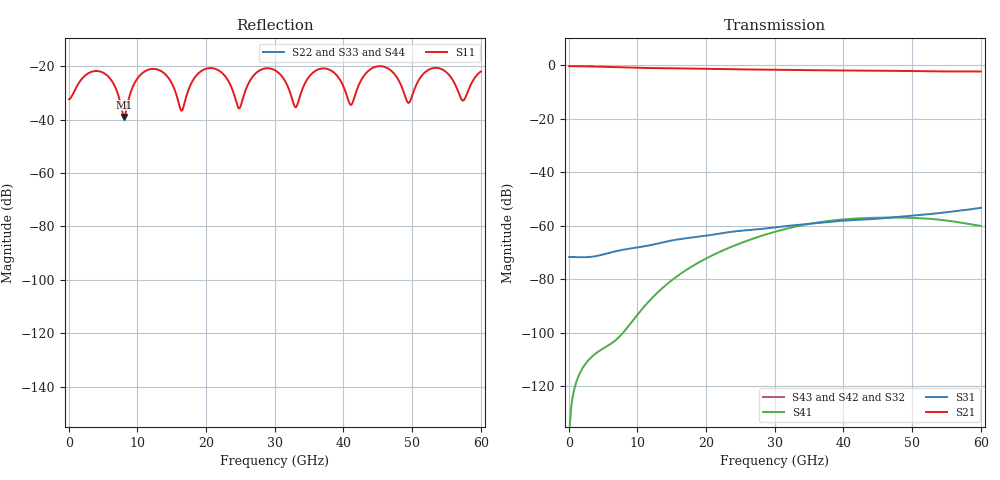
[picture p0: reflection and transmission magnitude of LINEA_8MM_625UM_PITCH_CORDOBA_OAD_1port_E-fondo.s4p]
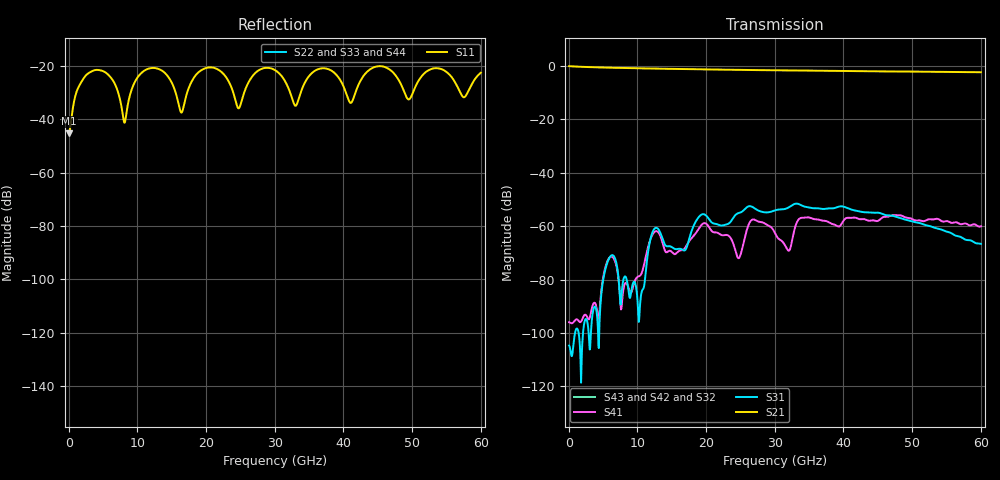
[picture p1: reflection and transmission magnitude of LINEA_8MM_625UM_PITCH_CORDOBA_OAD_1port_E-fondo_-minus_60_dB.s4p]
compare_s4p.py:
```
"""S-parameters, -27 dB run vs the run stopped at -44.5 dB: |S| in dB at the monitor frequencies and the change.
Ports (CST): 1 A near, 2 A far, 3 B near, 4 B far -> S21 through, S31 NEXT, S41 FEXT."""
import os, numpy as np, skrf as rf
HERE = os.path.dirname(os.path.abspath(__file__))
old = rf.Network(os.path.join(HERE, "../cordoba_8mm_wide_ebottom/LINEA_8MM_625UM_PITCH_CORDOBA_OAD_1port_E-fondo.s4p"))
new = rf.Network(os.path.join(HERE, "LINEA_8MM_625UM_PITCH_CORDOBA_OAD_1port_E-fondo_-minus_60_dB.s4p"))
fs = np.arange(5, 61, 5) * 1e9
def at(n, i, j):
    return np.interp(fs, n.f, n.s[:, i, j].real) + 1j * np.interp(fs, n.f, n.s[:, i, j].imag)
for lab, (i, j) in {"S11": (0, 0), "S21": (1, 0), "S31 NEXT": (2, 0), "S41 FEXT": (3, 0)}.items():
    a, b = at(old, i, j), at(new, i, j)
    print(f"{lab:9s} old " + " ".join(f"{20*np.log10(abs(v)):6.1f}" for v in a))
    print(f"{'':9s} new " + " ".join(f"{20*np.log10(abs(v)):6.1f}" for v in b))
    print(f"{'':9s} |new-old|/|new| " + " ".join(f"{abs(b[k]-a[k])/abs(b[k]):.2f}" for k in range(len(fs))))
```
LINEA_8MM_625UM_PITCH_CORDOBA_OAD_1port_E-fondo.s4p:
! TOUCHSTONE file generated by CST MICROWAVE STUDIO
! Date and time: Mon Nov  2 09:16:39 2026
! Project name: LINEA_8MM_625UM_PITCH_CORDOBA_OAD_1port_E-fondo.cst
! Parameters = {CHANNEL_PITCH=0.625; GAP=0.00415; L=8; L1=0.02; L2=0.086; L3=0.066; NCELL=1; PITCH=0.18; START_POSITION=0.13; W1=0.003; W2=0.004; W3=0.009; WG=0.04985; gap_oxr=0.00125; linbo3_thickness=0.0002; mtx=0.002; oxiDinE=0.0014; w=0.185; ws=0.035}
! Header version: 2024
! Port assignment regex: !\s*Touchstone port\s*([0-9]+)\s*=\s*(CST MWS port|CST DES external port|CST DES block port)\s*(.+)\s* \(\"(.*)\"\)(\s*mode\s*([0-9]+))?.*
! Touchstone port assignment:
! Touchstone port 1 = CST MWS port 1 ("")
! Touchstone port 2 = CST MWS port 2 ("")
! Touchstone port 3 = CST MWS port 3 ("")
! Touchstone port 4 = CST MWS port 4 ("")
# GHz S MA R 50
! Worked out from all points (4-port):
!   1000 points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, 60 MHz to 60 GHz, reference 50 ohm
!   strongest paths, dB at 60 MHz, 15.06 GHz, 30.06 GHz, 45.06 GHz, 60 GHz:
!     S21: -0.3, -1.1, -1.6, -1.9, -2.2
!     S31: -71.7, -65.5, -60.6, -57.4, -53.3
!     S41: -141.2, -80.3, -62.2, -57.0, -60.1
!     S43: -, -, -, -, -
!     S42: -, -, -, -, -
!     S32: -, -, -, -, -
!   lowest |S11| = -39.0 dB at 8.04 GHz (marker M1), VSWR 1.02, Z = 48.9 - j0.281 ohm
!   |S11| at or under -10 dB: start of sweep to end of sweep
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0.06  0.02398 -5.6  0 0.0  0 0.0  0 0.0
      0.9712 -1.3  0 0.0  0 0.0  0 0.0
      0.0002594 -2.9  0 0.0  0 0.0  0 0.0
      8.689e-08 -133.0  0 0.0  0 0.0  0 0.0
8.04  0.01123 -165.2  0 0.0  0 0.0  0 0.0
      0.9186 -176.2  0 0.0  0 0.0  0 0.0
      0.0003574 -31.1  0 0.0  0 0.0  0 0.0
      1.037e-05 -164.1  0 0.0  0 0.0  0 0.0
60  0.07954 -126.3  0 0.0  0 0.0  0 0.0
    0.7724 151.6  0 0.0  0 0.0  0 0.0
    0.002161 143.7  0 0.0  0 0.0  0 0.0
    0.0009905 71.0  0 0.0  0 0.0  0 0.0
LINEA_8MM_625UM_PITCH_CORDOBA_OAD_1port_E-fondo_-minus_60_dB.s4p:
! TOUCHSTONE file generated by CST MICROWAVE STUDIO
! Date and time: Wed Nov  4 14:42:19 2026
! Project name: LINEA_8MM_625UM_PITCH_CORDOBA_OAD_1port_E-fondo -minus 60 dB.cst
! Parameters = {CHANNEL_PITCH=0.625; GAP=0.00415; L=8; L1=0.02; L2=0.086; L3=0.066; NCELL=1; PITCH=0.18; START_POSITION=0.13; W1=0.003; W2=0.004; W3=0.009; WG=0.04985; gap_oxr=0.00125; linbo3_thickness=0.0002; mtx=0.002; oxiDinE=0.0014; w=0.185; ws=0.035}
! Header version: 2024
! Port assignment regex: !\s*Touchstone port\s*([0-9]+)\s*=\s*(CST MWS port|CST DES external port|CST DES block port)\s*(.+)\s* \(\"(.*)\"\)(\s*mode\s*([0-9]+))?.*
! Touchstone port assignment:
! Touchstone port 1 = CST MWS port 1 ("")
! Touchstone port 2 = CST MWS port 2 ("")
! Touchstone port 3 = CST MWS port 3 ("")
! Touchstone port 4 = CST MWS port 4 ("")
# GHz S MA R 50
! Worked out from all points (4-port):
!   1000 points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, 60 MHz to 60 GHz, reference 50 ohm
!   strongest paths, dB at 60 MHz, 15.06 GHz, 30.06 GHz, 45.06 GHz, 60 GHz:
!     S21: 0.0, -1.1, -1.6, -2.0, -2.3
!     S31: -104.7, -67.9, -54.0, -54.9, -66.6
!     S41: -95.9, -69.8, -62.7, -57.9, -60.0
!     S43: -, -, -, -, -
!     S42: -, -, -, -, -
!     S32: -, -, -, -, -
!   lowest |S11| = -45.3 dB at 60 MHz (marker M1), VSWR 1.01, Z = 50.5 - j0.0154 ohm
!   |S11| at or under -10 dB: start of sweep to end of sweep
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0.06  0.005462 -1.6  0 0.0  0 0.0  0 0.0
      0.9944 -1.4  0 0.0  0 0.0  0 0.0
      5.849e-06 -12.8  0 0.0  0 0.0  0 0.0
      1.595e-05 163.5  0 0.0  0 0.0  0 0.0
7.98  0.009863 170.9  0 0.0  0 0.0  0 0.0
      0.9207 -174.6  0 0.0  0 0.0  0 0.0
      0.0001025 13.3  0 0.0  0 0.0  0 0.0
      6.801e-05 -164.8  0 0.0  0 0.0  0 0.0
60  0.07395 -124.7  0 0.0  0 0.0  0 0.0
    0.7654 151.7  0 0.0  0 0.0  0 0.0
    0.0004678 -3.5  0 0.0  0 0.0  0 0.0
    0.0009994 73.7  0 0.0  0 0.0  0 0.0
